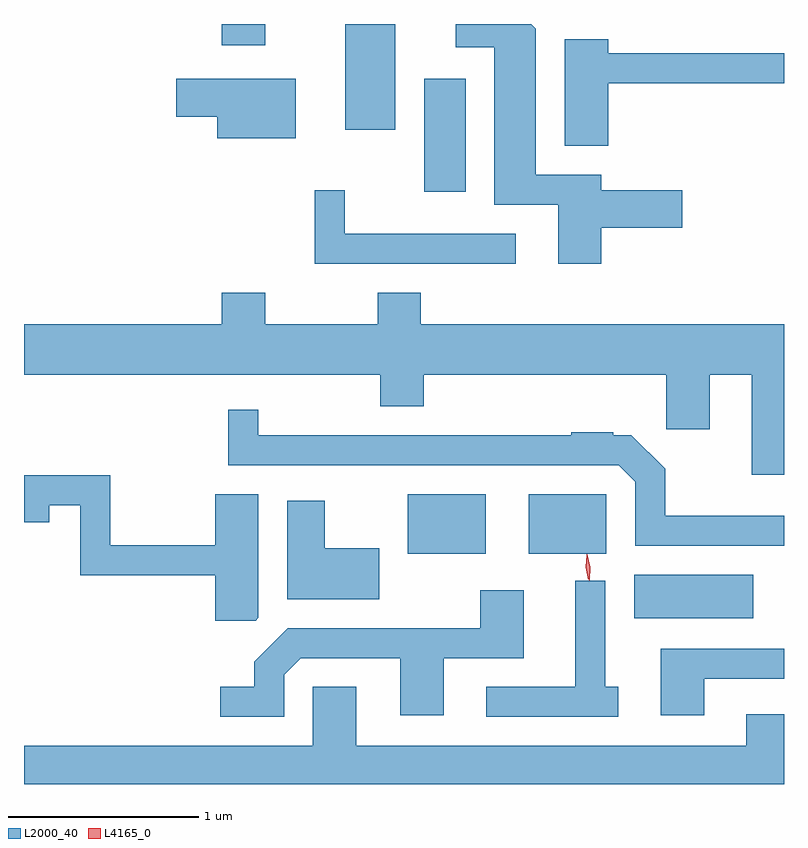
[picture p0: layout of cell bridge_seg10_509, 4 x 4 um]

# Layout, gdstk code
import gdstk
lib = gdstk.Library(unit=1e-6, precision=1e-09)
def R(c, l, rs):  # rectangles x0, y0, x1, y1
    for r in rs: c.add(gdstk.rectangle(r[:2], r[2:], *l))
def P(c, l, *ps):  # polygons
    for p in ps: c.add(gdstk.Polygon(p, *l))
L2000_40 = (2000, 40)
L4165_0 = (4165, 0)

bridge_seg10_509 = lib.new_cell('bridge_seg10_509')
R(bridge_seg10_509, L2000_40, [(805.051,2152.596,805.679,2152.824), (803.861,2152.936,804.269,2153.249), (804.496,2152.936,804.904,2153.249), (803.946,2154.841,804.164,2155.434), (803.531,2155.166,803.794,2155.723), (802.881,2155.611,803.109,2155.723)])
P(bridge_seg10_509, L2000_40, [(804.879,2154.651),(805.304,2154.651),(805.304,2154.849),(804.879,2154.849),(804.879,2154.929),(804.534,2154.929),(804.534,2155.699),(804.51,2155.723),(804.113,2155.723),(804.113,2155.601),(804.316,2155.601),(804.316,2154.771),(804.651,2154.771),(804.651,2154.461),(804.879,2154.461)],
  [(804.914,2155.411),(805.84,2155.411),(805.84,2155.569),(804.914,2155.569),(804.914,2155.644),(804.686,2155.644),(804.686,2155.081),(804.914,2155.081)],
  [(803.269,2155.434),(802.641,2155.434),(802.641,2155.236),(802.856,2155.236),(802.856,2155.121),(803.269,2155.121)],
  [(804.428,2154.619),(803.529,2154.619),(803.529,2154.848),(803.371,2154.848),(803.371,2154.461),(804.428,2154.461)],
  [(805.84,2154.144),(803.929,2154.144),(803.929,2154.309),(803.701,2154.309),(803.701,2154.144),(803.109,2154.144),(803.109,2154.309),(802.881,2154.309),(802.881,2154.144),(801.84,2154.144),(801.84,2153.876),(803.716,2153.876),(803.716,2153.711),(803.944,2153.711),(803.944,2153.876),(805.221,2153.876),(805.221,2153.591),(805.449,2153.591),(805.449,2153.876),(805.671,2153.876),(805.671,2153.351),(805.84,2153.351)],
  [(805.84,2153.134),(805.214,2153.134),(805.214,2153.382),(805.037,2153.559),(804.94,2153.559),(804.94,2153.574),(804.72,2153.574),(804.72,2153.559),(803.074,2153.559),(803.074,2153.693),(802.916,2153.693),(802.916,2153.401),(804.969,2153.401),(805.056,2153.314),(805.056,2152.976),(805.84,2152.976)],
  [(803.074,2152.597),(803.074,2153.249),(802.846,2153.249),(802.846,2152.979),(802.294,2152.979),(802.294,2153.349),(801.84,2153.349),(801.84,2153.101),(801.974,2153.101),(801.974,2153.191),(802.136,2153.191),(802.136,2152.821),(802.846,2152.821),(802.846,2152.581),(803.059,2152.581)],
  [(803.709,2152.964),(803.424,2152.964),(803.424,2153.214),(803.226,2153.214),(803.226,2152.696),(803.709,2152.696)],
  [(804.968,2152.234),(804.899,2152.234),(804.899,2152.793),(804.741,2152.793),(804.741,2152.234),(804.273,2152.234),(804.273,2152.076),(804.968,2152.076)],
  [(803.209,2152.299),(803.297,2152.386),(803.821,2152.386),(803.821,2152.086),(804.049,2152.086),(804.049,2152.386),(804.469,2152.386),(804.469,2152.744),(804.241,2152.744),(804.241,2152.544),(803.229,2152.544),(803.051,2152.367),(803.051,2152.234),(802.873,2152.234),(802.873,2152.076),(803.209,2152.076)],
  [(805.419,2152.276),(805.84,2152.276),(805.84,2152.434),(805.191,2152.434),(805.191,2152.086),(805.419,2152.086)],
  [(805.84,2152.089),(805.641,2152.089),(805.641,2151.924),(803.589,2151.924),(803.589,2152.234),(803.361,2152.234),(803.361,2151.924),(801.84,2151.924),(801.84,2151.723),(805.84,2151.723)])
P(bridge_seg10_509, L4165_0, [(804.816,2152.794),(804.816,2152.795),(804.8,2152.863),(804.803,2152.932),(804.803,2152.933),(804.804,2152.932),(804.82,2152.864),(804.817,2152.795)],
  [(804.81,2152.798),(804.796,2152.863),(804.801,2152.93),(804.801,2152.93),(804.802,2152.93),(804.816,2152.864),(804.811,2152.798),(804.811,2152.798)])

lib.write_gds('bridge_seg10_509.gds')
